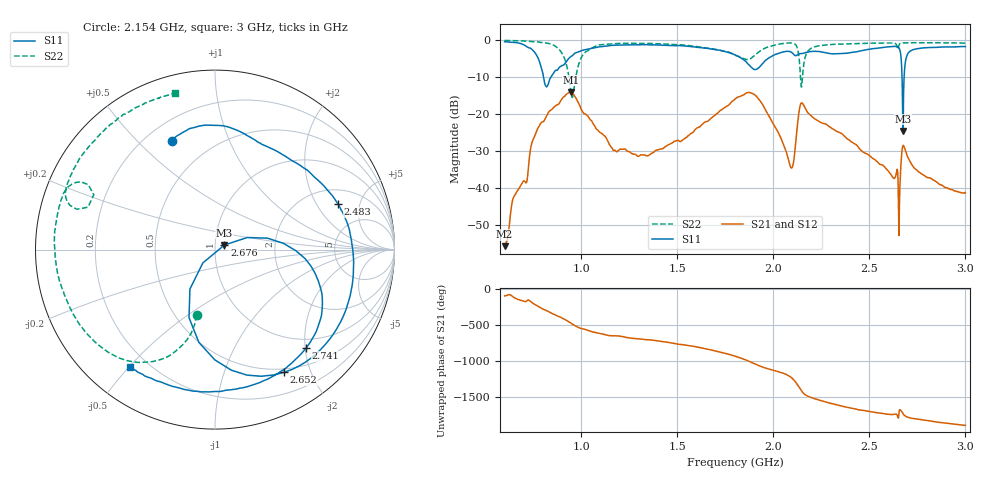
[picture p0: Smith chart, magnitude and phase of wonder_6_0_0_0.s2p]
#  HZ  S  RI  R  50.00
! Rohde & Schwarz ZVB8 2Ports - Version 2.81 - 1145.1010k08 SN: 100113
! Date: 2016-05-12 03:15:51
! Measurements: S11 S21 S12 S22
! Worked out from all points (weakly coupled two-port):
!   1000 points, 600 MHz to 3 GHz, reference 50 ohm
!   highest |S21| = -14.15 dB at 945.9 MHz (marker M1); lowest = -55.8 dB at 600 MHz (marker M2)
!   lowest |S11| = -24.7 dB at 2.676 GHz (marker M3), VSWR 1.12, Z = 55.5 + j2.84 ohm
!   |S11| at or under -10 dB: 802.2 MHz to 842.8 MHz (40.59 MHz wide, 4.93 % of centre); 2.669818 GHz to 2.68102 GHz (11.2 MHz wide, 0.419 % of centre)
!   |S22| runs from -15.6 to -0.2 dB; largest |S21 - S12| = 0.0015
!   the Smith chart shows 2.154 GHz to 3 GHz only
!   S11 on the Smith chart (normalised r, x): 2.154 GHz: 0.30, +0.64; 2.483 GHz: 2.85, +3.12; 2.652 GHz: 0.46, -1.62; 2.676 GHz: 1.11, +0.06; 2.741 GHz: 0.81, -2.02; 3 GHz: 0.14, -0.50
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6e8  -0.8591 0.376  -0.000198 -0.00162  -0.000189 -0.00164  -0.957 0.183
7.105105e8  -0.2845 0.7693  -0.0116 -0.000974  -0.0118 -0.00105  -0.7206 0.6288
7.801802e8  0.1497 0.4941  -0.0199 0.0654  -0.0197 0.0653  -0.4206 0.8238
8.354354e8  -0.1088 0.2745  0.0926 0.0584  0.0927 0.0582  -0.0736 0.8775
9.075075e8  -0.1436 0.4312  0.0885 -0.1432  0.0885 -0.1429  0.431 0.4089
9.459459e8  -0.1048 0.5836  -0.0924 -0.1729  -0.0922 -0.173  0.1352 -0.1358
1.001201e9  0.1392 0.6989  -0.1078 0.0257  -0.1078 0.0255  -0.5145 0.278
1.140541e9  0.7359 0.3721  0.0143 0.0384  0.0144 0.0385  0.1525 0.856
1.4e9  0.3563 -0.7665  0.0322 -0.00362  0.0323 -0.00354  0.8796 0.0647
1.621021e9  -0.5518 -0.5515  -0.0118 -0.0673  -0.0118 -0.0673  0.4843 -0.6285
1.801201e9  -0.6142 0.0907  -0.1248 0.0984  -0.1248 0.0987  0.0104 -0.6142
1.918919e9  -0.3983 0.0851  0.1559 0.0468  0.156 0.0467  0.0628 -0.6611
2.091892e9  -0.3624 0.5769  -0.0163 -0.00878  -0.0163 -0.00871  -0.6333 -0.6419
2.135135e9  -0.2857 0.5768  0.0474 0.1029  0.0474 0.1027  -0.517 -0.0425
2.154354e9  -0.2417 0.6067  0.1331 -0.0208  0.133 -0.0207  -0.103 -0.3654
2.2e9  -0.0987 0.6856  0.0191 -0.0902  0.0191 -0.0903  -0.4527 -0.6253
2.483483e9  0.6862 0.2538  -0.00519 0.0284  -0.00523 0.0284  -0.891 -0.0262
2.601201e9  0.7348 -0.3185  0.0104 0.0128  0.0104 0.0127  -0.863 0.2556
2.651652e9  0.385 -0.6835  0.00572 3.75e-05  0.00566 4.65e-05  -0.77 0.2245
2.675676e9  0.0524 0.0255  0.0189 0.0322  0.0188 0.0321  -0.8212 0.3707
2.740541e9  0.5077 -0.5485  0.0175 -0.00328  0.0175 -0.00315  -0.7434 0.5228
3e9  -0.4731 -0.652  -0.00195 -0.00827  -0.00194 -0.00835  -0.224 0.8706
